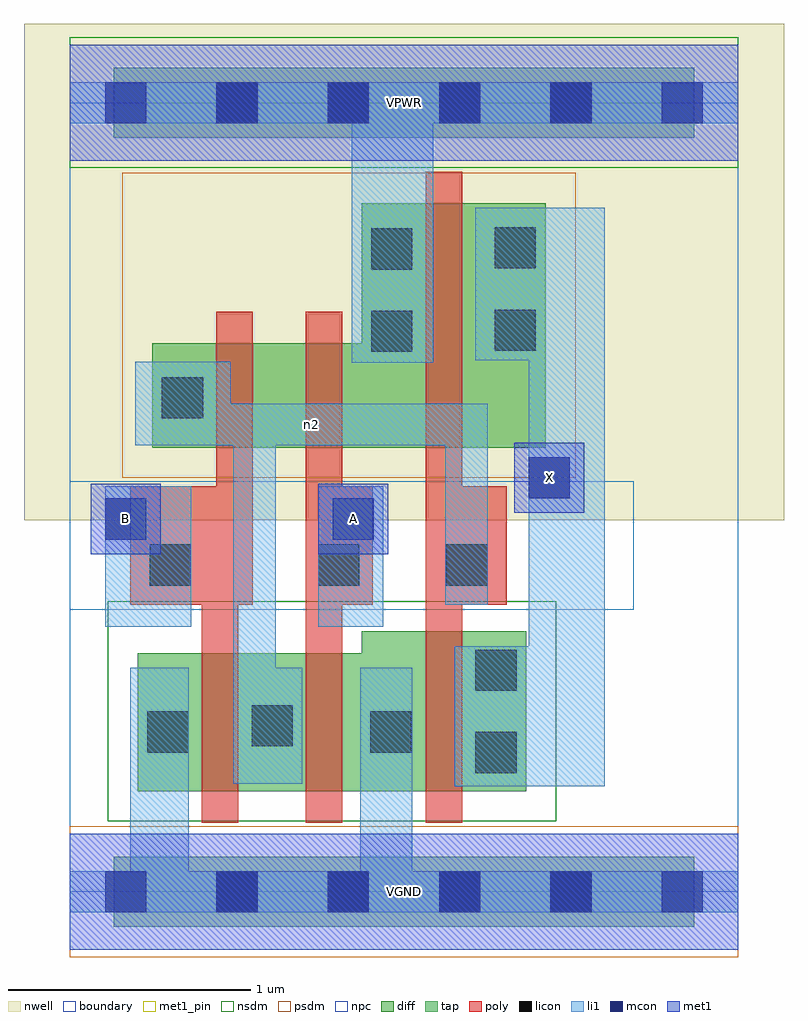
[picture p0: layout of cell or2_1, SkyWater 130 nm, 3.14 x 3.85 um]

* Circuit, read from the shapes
.subckt or2_1 A B VGND VPWR X n2
XM1 n2 B VGND VGND sky130_fd_pr__nfet_01v8 w=0.57 l=0.15
XM2 VGND A n2 VGND sky130_fd_pr__nfet_01v8 w=0.57 l=0.15
XM3 X n2 VGND VGND sky130_fd_pr__nfet_01v8 w=0.66 l=0.15
XM4 n1 B n2 VPWR sky130_fd_pr__pfet_01v8 w=0.43 l=0.15
XM5 VPWR A n1 VPWR sky130_fd_pr__pfet_01v8 w=0.43 l=0.15
XM6 X n2 VPWR VPWR sky130_fd_pr__pfet_01v8 w=1.01 l=0.15
.ends

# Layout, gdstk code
import gdstk
lib = gdstk.Library(unit=1e-6, precision=1e-09)
def R(c, l, rs):  # rectangles x0, y0, x1, y1
    for r in rs: c.add(gdstk.rectangle(r[:2], r[2:], *l))
def A(c, l, x, y, w, h, nx, ny, dx, dy):  # array of equal rectangles
    R(c, l, [(x+i*dx, y+j*dy, x+i*dx+w, y+j*dy+h) for i in range(nx) for j in range(ny)])
nwell = (64, 20)
diff = (65, 20)
tap = (65, 44)
poly = (66, 20)
licon = (66, 44)
li1 = (67, 20)
mcon = (67, 44)
met1_pin = (68, 16)
met1 = (68, 20)
nsdm = (93, 44)
psdm = (94, 20)
npc = (95, 20)
boundary = (235, 4)

or2_1 = lib.new_cell('or2_1')
R(or2_1, nwell, [(-0.19,1.535,2.95,3.585), (0,1.535,2.76,3.585)])
R(or2_1, diff, [(0.28,0.415,1.885,0.985), (1.205,0.415,1.885,1.075), (0.34,1.835,1.965,2.265), (1.205,1.835,1.965,2.845)])
R(or2_1, tap, [(0.18,-0.145,2.58,0.145), (0.18,3.115,2.58,3.405)])
R(or2_1, poly, [(0.545,0.285,0.695,1.675), (0.975,0.285,1.125,2.395), (1.47,0.285,1.62,2.975), (0.25,1.185,0.755,1.675), (0.605,1.185,0.755,2.395), (0.975,1.185,1.25,1.675), (1.47,1.185,1.805,1.675)])
A(or2_1, licon, 0.605, -0.085, 0.17, 0.17, 4, 2, 0.46, 3.26)
R(or2_1, licon, [(1.675,0.49,1.845,0.66), (0.32,0.575,0.49,0.745), (1.24,0.575,1.41,0.745), (0.75,0.6,0.92,0.77), (1.675,0.83,1.845,1), (0.33,1.265,0.5,1.435), (1.025,1.265,1.195,1.435), (1.555,1.265,1.725,1.435), (0.38,1.955,0.55,2.125), (1.245,2.23,1.415,2.4), (1.755,2.235,1.925,2.405), (1.245,2.57,1.415,2.74), (1.755,2.575,1.925,2.745)])
R(or2_1, li1, [(0,-0.085,2.76,0.085), (0.25,-0.085,0.49,0.925), (1.2,-0.085,1.415,0.925), (1.59,0.435,2.21,1.015), (1.895,0.435,2.21,2.825), (0.675,0.445,0.85,2.015), (0.675,0.445,0.96,0.925), (0.145,1.095,0.5,1.675), (1.025,1.095,1.295,1.675), (1.55,1.185,1.725,2.015), (0.27,1.845,1.725,2.015), (0.27,1.845,0.665,2.19), (1.165,2.185,1.5,3.345), (1.675,2.195,2.21,2.825), (0,3.175,2.76,3.345)])
A(or2_1, mcon, 0.145, -0.085, 0.17, 0.17, 6, 2, 0.46, 3.26)
R(or2_1, mcon, [(0.145,1.455,0.315,1.625), (1.085,1.455,1.255,1.625), (1.895,1.625,2.065,1.795)])
R(or2_1, met1_pin, [(0,-0.24,2.76,0.24), (0.085,1.395,0.375,1.685), (1.025,1.395,1.315,1.685), (1.835,1.565,2.125,1.855), (0,3.02,2.76,3.5)])
R(or2_1, met1, [(0,-0.24,2.76,0.24), (0.085,1.395,0.375,1.685), (1.025,1.395,1.315,1.685), (1.835,1.565,2.125,1.855), (0,3.02,2.76,3.5)])
R(or2_1, nsdm, [(0.155,0.29,2.01,1.2), (0,2.99,2.76,3.53)])
R(or2_1, psdm, [(0,-0.27,2.76,0.27), (0.215,1.71,2.09,2.97)])
R(or2_1, npc, [(0,1.165,2.33,1.695)])
R(or2_1, boundary, [(0,0,2.76,3.26)])
or2_1.add(gdstk.Label('n2', (0.997,1.93), layer=67, texttype=5))
or2_1.add(gdstk.Label('A', (1.17,1.54), layer=68, texttype=5))
or2_1.add(gdstk.Label('B', (0.23,1.54), layer=68, texttype=5))
or2_1.add(gdstk.Label('X', (1.98,1.71), layer=68, texttype=5))
or2_1.add(gdstk.Label('VPWR', (1.38,3.26), layer=68, texttype=5))
or2_1.add(gdstk.Label('VGND', (1.38,0), layer=68, texttype=5))
or2_1.add(gdstk.Label('A', (1.17,1.54), layer=68, texttype=16))
or2_1.add(gdstk.Label('B', (0.23,1.54), layer=68, texttype=16))
or2_1.add(gdstk.Label('X', (1.98,1.71), layer=68, texttype=16))
or2_1.add(gdstk.Label('VPWR', (1.38,3.26), layer=68, texttype=16))
or2_1.add(gdstk.Label('VGND', (1.38,0), layer=68, texttype=16))

lib.write_gds('or2_1.gds')
